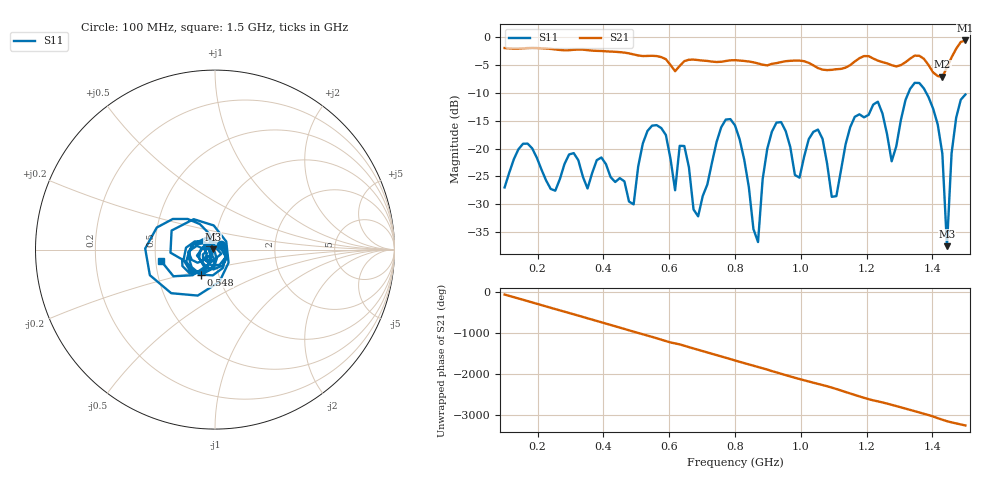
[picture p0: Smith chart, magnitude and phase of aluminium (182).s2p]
! NanoVNA-App
! Date: 2025-09-25 14:56:41
! Start: 100MHz Stop: 1,5GHz Points: 101
! S-Parameter data: F S11 S21 S12 S22
# Hz S RI R 50
!  Frequency  S11_Real  S11_Imag  S21_Real  S21_Imag  S12_Real  S12_Imag  S22_Real  S22_Imag
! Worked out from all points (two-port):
!   101 points, 100 MHz to 1.5 GHz, reference 50 ohm
!   highest |S21| = -0.56 dB at 1.5 GHz (marker M1); lowest = -7.1 dB at 1.43 GHz (marker M2)
!   |S21| within 3 dB of the highest: start of sweep to 576.3 MHz; 1.458 GHz to end of sweep (the widest 2 of 4)
!   lowest |S11| = -37.5 dB at 1.444 GHz (marker M3), VSWR 1.03, Z = 48.7 + j0.247 ohm
!   |S11| at or under -10 dB: start of sweep to 1.327 GHz; 1.381 GHz to end of sweep
!   S12 and S22 are empty: the file has one direction only
!   S11 on the Smith chart (normalised r, x): 100 MHz: 1.07, +0.06; 548 MHz: 0.82, -0.23; 1.5 GHz: 0.54, -0.08
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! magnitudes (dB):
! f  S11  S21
! 100 MHz  -27.0  -1.9
! 156 MHz  -19.1  -2.0
! 338 MHz  -25.1  -2.2
! 492 MHz  -30.0  -3.1
! 548 MHz  -15.9  -3.3
! 576 MHz  -16.3  -3.5
! 618 MHz  -27.5  -6.1
! 646 MHz  -19.5  -4.3
! 688 MHz  -32.2  -4.1
! 800 MHz  -15.8  -4.1
! 870 MHz  -36.8  -4.7
! 912 MHz  -16.9  -4.8
! 996 MHz  -25.2  -4.2
! 1.038 GHz  -17.0  -5.0
! 1.094 GHz  -28.7  -5.8
! 1.234 GHz  -11.6  -4.2
! 1.276 GHz  -22.3  -5.0
! 1.346 GHz  -8.2  -3.3
! 1.43 GHz  -20.9  -7.1
! 1.444 GHz  -37.5  -5.4
! 1.458 GHz  -20.9  -3.6
! 1.5 GHz  -10.3  -0.6
